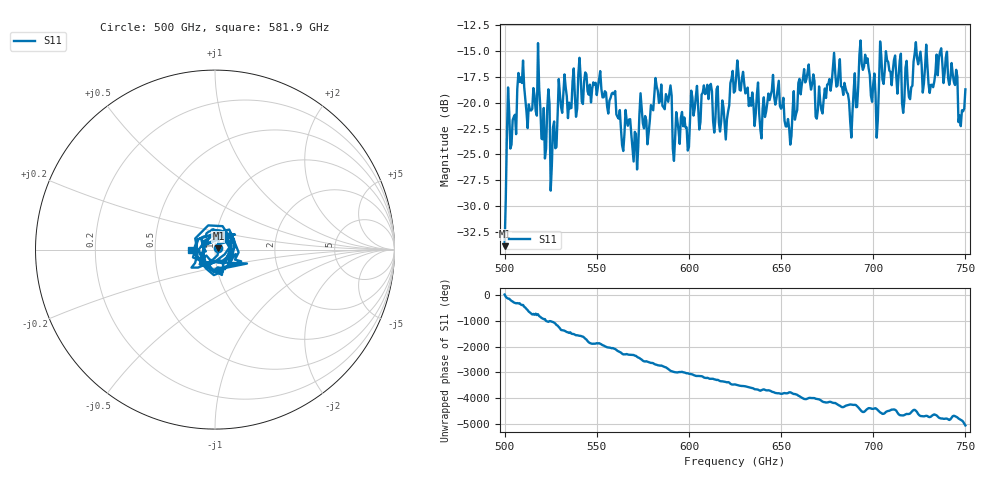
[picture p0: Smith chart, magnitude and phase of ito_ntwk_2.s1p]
!Created with skrf (http://scikit-rf.org).
# GHz S RI R 50.0
!freq ReS11 ImS11
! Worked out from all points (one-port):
!   401 points, 500 GHz to 750 GHz, reference 50 ohm
!   lowest |S11| = -33.9 dB at 500 GHz (marker M1), VSWR 1.04, Z = 51.9 + j0.76 ohm
!   |S11| at or under -10 dB: start of sweep to end of sweep
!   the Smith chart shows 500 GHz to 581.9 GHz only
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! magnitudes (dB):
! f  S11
! 500 GHz  -33.9
! 502.5 GHz  -20.9
! 508.8 GHz  -17.6
! 526.2 GHz  -22.4
! 531.2 GHz  -21.0
! 550.6 GHz  -18.5
! 562.5 GHz  -20.7
! 571.2 GHz  -23.0
! 582.5 GHz  -18.4
! 593.8 GHz  -21.7
! 611.2 GHz  -18.4
! 620.6 GHz  -21.6
! 625 GHz  -18.9
! 656.2 GHz  -20.8
! 663.8 GHz  -17.7
! 670 GHz  -20.6
! 680 GHz  -18.4
! 687.5 GHz  -21.8
! 693.8 GHz  -16.2
! 701.2 GHz  -19.2
! 707.5 GHz  -15.9
! 718.8 GHz  -18.2
! 724.4 GHz  -16.3
! 731.9 GHz  -18.3
! 735.6 GHz  -15.6
! 744.4 GHz  -18.3
! 747.5 GHz  -22.3
! 750 GHz  -18.7
